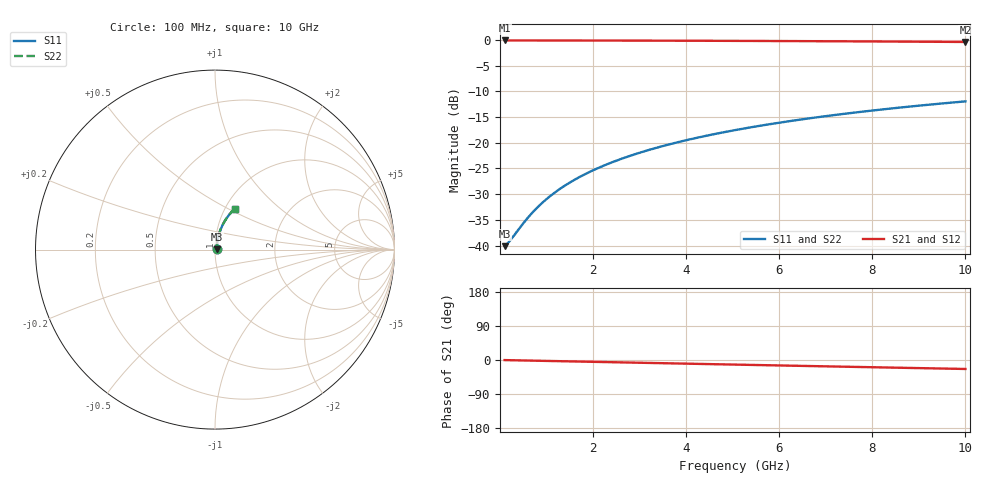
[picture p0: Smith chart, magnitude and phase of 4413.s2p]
# Hz S RI R 50.00
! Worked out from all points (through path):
!   100 points, 100 MHz to 10 GHz, reference 50 ohm
!   highest |S21| = -0.08 dB at 100 MHz (marker M1); lowest = -0.4 dB at 10 GHz (marker M2)
!   group delay of S21, straight-line fit = 6.59 ps
!   lowest |S11| = -40.1 dB at 100 MHz (marker M3), VSWR 1.02, Z = 51 + j0.267 ohm
!   |S11| at or under -10 dB: start of sweep to end of sweep
!   |S22| runs from -40.1 to -11.9 dB; largest |S21 - S12| = 0
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1e8  0.0095 0.00262  0.9905 -0.00418  0.9905 -0.00418  0.0095 0.00262
2e8  0.00959 0.00523  0.9904 -0.00836  0.9904 -0.00836  0.00959 0.00523
5e8  0.00994 0.0131  0.99 -0.0209  0.99 -0.0209  0.00994 0.0131
6e8  0.0101 0.0157  0.9899 -0.0251  0.9899 -0.0251  0.0101 0.0157
7e8  0.0103 0.0183  0.9897 -0.0292  0.9897 -0.0292  0.0103 0.0183
9e8  0.0107 0.0235  0.9892 -0.0376  0.9892 -0.0376  0.0107 0.0235
1.1e9  0.0111 0.0287  0.9887 -0.0459  0.9887 -0.0459  0.0111 0.0287
1.3e9  0.0117 0.0339  0.9881 -0.0542  0.9881 -0.0542  0.0117 0.0339
1.5e9  0.0123 0.0391  0.9874 -0.0625  0.9874 -0.0625  0.0123 0.0391
1.8e9  0.0135 0.0468  0.9861 -0.075  0.9861 -0.075  0.0135 0.0468
2.1e9  0.0148 0.0546  0.9846 -0.0874  0.9846 -0.0874  0.0148 0.0546
2.5e9  0.0168 0.0648  0.9823 -0.1039  0.9823 -0.1039  0.0168 0.0648
2.9e9  0.0192 0.0749  0.9797 -0.1202  0.9797 -0.1202  0.0192 0.0749
3.4e9  0.0227 0.0874  0.9758 -0.1406  0.9758 -0.1406  0.0227 0.0874
3.8e9  0.0258 0.0973  0.9723 -0.1567  0.9723 -0.1567  0.0258 0.0973
4.2e9  0.0293 0.107  0.9685 -0.1728  0.9685 -0.1728  0.0293 0.107
5.1e9  0.0382 0.1285  0.9585 -0.2083  0.9585 -0.2083  0.0382 0.1285
5.9e9  0.0474 0.1468  0.9482 -0.2392  0.9482 -0.2392  0.0474 0.1468
6.7e9  0.0577 0.1643  0.9367 -0.2693  0.9367 -0.2693  0.0577 0.1643
7.5e9  0.0691 0.1811  0.9239 -0.2986  0.9239 -0.2986  0.0691 0.1811
8.4e9  0.083 0.1988  0.9081 -0.3306  0.9081 -0.3306  0.083 0.1988
1e10  0.1105 0.2274  0.8769 -0.3844  0.8769 -0.3844  0.1105 0.2274
